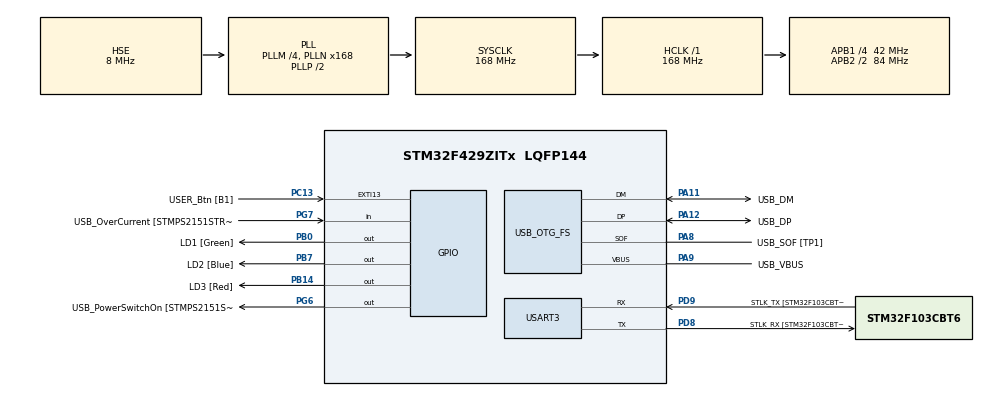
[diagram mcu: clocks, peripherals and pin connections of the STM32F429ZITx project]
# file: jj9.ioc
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Mcu.Family=STM32F4
Mcu.Name=STM32F429ZITx
Mcu.Package=LQFP144
NVIC.OTG_FS_IRQn=true\:0\:0\:false\:false\:true\:false\:true\:true
NVIC.PriorityGroup=NVIC_PRIORITYGROUP_4
PA1.GPIO_Label=RMII_REF_CLK [LAN8742A-CZ-TR_REFCLK0]
PA1.Signal=ETH_REF_CLK
PA10.GPIO_Label=USB_ID
PA10.Signal=USB_OTG_FS_ID
PA11.GPIO_Label=USB_DM
PA11.Mode=Device_Only
PA11.Signal=USB_OTG_FS_DM
PA12.GPIO_Label=USB_DP
PA12.Mode=Device_Only
PA12.Signal=USB_OTG_FS_DP
PA13.GPIO_Label=TMS
PA13.Mode=Serial_Wire
PA13.Signal=SYS_JTMS-SWDIO
PA14.GPIO_Label=TCK
PA14.Mode=Serial_Wire
PA14.Signal=SYS_JTCK-SWCLK
PA2.GPIO_Label=RMII_MDIO [LAN8742A-CZ-TR_MDIO]
PA2.Signal=ETH_MDIO
PA7.GPIO_Label=RMII_CRS_DV [LAN8742A-CZ-TR_CRS_DV]
PA7.Signal=ETH_CRS_DV
PA8.GPIO_Label=USB_SOF [TP1]
PA8.Mode=Activate_SOF_FS
PA8.Signal=USB_OTG_FS_SOF
PA9.GPIO_Label=USB_VBUS
PA9.Mode=Activate_VBUS
PA9.Signal=USB_OTG_FS_VBUS
PB0.GPIO_Label=LD1 [Green]
PB0.Signal=GPIO_Output
PB13.GPIO_Label=RMII_TXD1 [LAN8742A-CZ-TR_TXD1]
PB13.Signal=ETH_TXD1
PB14.GPIO_Label=LD3 [Red]
PB14.Signal=GPIO_Output
PB7.GPIO_Label=LD2 [Blue]
PB7.Signal=GPIO_Output
PC1.GPIO_Label=RMII_MDC [LAN8742A-CZ-TR_MDC]
PC1.Signal=ETH_MDC
PC13.GPIO_Label=USER_Btn [B1]
PC13.Signal=GPXTI13
PC14/OSC32_IN.Mode=LSE-External-Oscillator
PC14/OSC32_IN.Signal=RCC_OSC32_IN
PC15/OSC32_OUT.Mode=LSE-External-Oscillator
PC15/OSC32_OUT.Signal=RCC_OSC32_OUT
PC4.GPIO_Label=RMII_RXD0 [LAN8742A-CZ-TR_RXD0]
PC4.Signal=ETH_RXD0
PC5.GPIO_Label=RMII_RXD1 [LAN8742A-CZ-TR_RXD1]
PC5.Signal=ETH_RXD1
PD8.GPIO_Label=STLK_RX [STM32F103CBT6_PA3]
PD8.Mode=Asynchronous
PD8.Signal=USART3_TX
PD9.GPIO_Label=STLK_TX [STM32F103CBT6_PA2]
PD9.Mode=Asynchronous
PD9.Signal=USART3_RX
PG11.GPIO_Label=RMII_TX_EN [LAN8742A-CZ-TR_TXEN]
PG11.Signal=ETH_TX_EN
PG13.GPIO_Label=RMII_TXD0 [LAN8742A-CZ-TR_TXD0]
PG13.Signal=ETH_TXD0
PG6.GPIO_Label=USB_PowerSwitchOn [STMPS2151STR_EN]
PG6.Signal=GPIO_Output
PG7.GPIO_Label=USB_OverCurrent [STMPS2151STR_FAULT]
PG7.Signal=GPIO_Input
PH0/OSC_IN.GPIO_Label=MCO [STM32F103CBT6_PA8]
PH0/OSC_IN.Mode=HSE-External-Clock-Source
PH0/OSC_IN.Signal=RCC_OSC_IN
PH1/OSC_OUT.Mode=HSE-External-Clock-Source
PH1/OSC_OUT.Signal=RCC_OSC_OUT
ProjectManager.HeapSize=0x200
ProjectManager.StackSize=0x400
ProjectManager.TargetToolchain=STM32CubeIDE
RCC.48MHZClocksFreq_Value=48000000
RCC.AHBFreq_Value=168000000
RCC.APB1CLKDivider=RCC_HCLK_DIV4
RCC.APB1Freq_Value=42000000
RCC.APB1TimFreq_Value=84000000
RCC.APB2CLKDivider=RCC_HCLK_DIV2
RCC.APB2Freq_Value=84000000
RCC.APB2TimCLKDivider=2
RCC.APB2TimFreq_Value=168000000
RCC.CortexFreq_Value=168000000
RCC.HCLKFreq_Value=168000000
RCC.HSE_VALUE=8000000
RCC.HSI_VALUE=16000000
RCC.PLLM=4
RCC.PLLMUL=RCC_PLL_MUL9
RCC.PLLN=168
RCC.PLLQ=7
RCC.PRESCALERUSB=RCC_USBCLKSOURCE_PLL_DIV1_5
RCC.SYSCLKFreq_VALUE=168000000
RCC.SYSCLKSource=RCC_SYSCLKSOURCE_PLLCLK
RCC.SYSCLKSourceVirtual=RCC_SYSCLKSOURCE_PLLCLK
RCC.USBFreq_Value=48000000
RCC.VCOOutputFreq_Value=336000000
USART3.VirtualMode=VM_ASYNC
USB_DEVICE.CLASS_NAME_FS=HID
USB_DEVICE.VirtualMode-HID_FS=Hid
USB_DEVICE.VirtualModeFS=Hid_FS
USB_OTG_FS.VirtualMode=Device_Only
VP_USB_DEVICE_VS_USB_DEVICE_HID_FS.Mode=HID_FS
board=NUCLEO-F429ZI

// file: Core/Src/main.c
/* USER CODE BEGIN Header */
/**
  ******************************************************************************
  * @file           : main.c
  * @brief          : Main program body
  ******************************************************************************
  * @attention
  *
  * Copyright (c) 2024 STMicroelectronics.
  * All rights reserved.
  *
  * This software is licensed under terms that can be found in the LICENSE file
  * in the root directory of this software component.
  * If no LICENSE file comes with this software, it is provided AS-IS.
  *
  ******************************************************************************
  */
/* USER CODE END Header */
#include "main.h"
#include "usb_device.h"

/* USER CODE BEGIN Includes */
#include "usbd_hid.h"
#include <stdio.h>
#include <math.h>
/* USER CODE END Includes */

UART_HandleTypeDef huart3;

/* USER CODE BEGIN PV */
extern USBD_HandleTypeDef hUsbDeviceFS;

/* USER CODE END PV */

void SystemClock_Config(void);
static void MX_GPIO_Init(void);
static void MX_USART3_UART_Init(void);

/* USER CODE BEGIN 0 */
int __io_putchar(int ch)
{
	ITM_SendChar(ch);
			return 0;
}

static void step(int8_t x, int8_t y, int8_t btn) {
	uint8_t buff[4];
	buff[0] = btn; // press the left button
	buff[1] = (int8_t)(x); // shift X +10
	buff[2] = (int8_t)(y); // shift Y -3
	buff[3] = 0; // no scroll
	USBD_HID_SendReport(&hUsbDeviceFS, buff, sizeof(buff));
	HAL_Delay(USBD_HID_GetPollingInterval(&hUsbDeviceFS));
}

void circ(int8_t r)
{
	int8_t sx = 0;
	int8_t sy = 0;
	for (float phi=0; phi < (2*3.14f); phi=phi+0.1)
	{
		float x=r*cosf(phi);
		float y=r*sinf(phi);

		printf("%.2f, %.2f\n ", x, y);

		int8_t dx = x -sx;
		int8_t dy = y -sy;

		step(dx, dy, 1);

		sx += dx;
		sy += dy;
	}

}
/* USER CODE END 0 */

int main(void)
{

  /* MCU Configuration--------------------------------------------------------*/

  /* Reset of all peripherals, Initializes the Flash interface and the Systick. */
  HAL_Init();

  /* Configure the system clock */
  SystemClock_Config();

  /* Initialize all configured peripherals */
  MX_GPIO_Init();
  MX_USART3_UART_Init();
  MX_USB_DEVICE_Init();

  /* Infinite loop */
  /* USER CODE BEGIN WHILE */
  while (1)
  {
	  if (HAL_GPIO_ReadPin(USER_Btn_GPIO_Port, USER_Btn_Pin)){

	  circ(80);

	  		step(0, 0, 0);
	  		step(-50, -20, 1);
	  		step(0, 30, 0);

	  		step(-15, -25, 0);
	  		circ(20);

	  		step(0, 0, 0);
	  		step(45, 0, 0);

	  		circ(20);

	  		step(0, 0, 0);

	  		step(-20, 40, 0);

	  		int8_t sx =  75 * cosf(0.785);
	  		int8_t sy = 75 * sinf(0.785);
	  		for (float phi = 0.785; phi < 2; phi = phi + 0.1)
	  		{
	  			uint8_t r = 75;
	  			float x = r * cosf(phi);
	  			float y = r * sinf(phi);

	  			printf("%.2f, %.2f\n", x, y);

	  			int8_t dx = x - sx;
	  			int8_t dy = y - sy;

	  			step(dx, dy, 1);

	  			sx += dx;
	  			sy += dy;
	  			//printf("%.2f\n", phi);
	  		}

	  		step(0, 0, 0);
	  		step(100, 0, 0);

	  		HAL_Delay(1000);

	  	}
  }
    /* USER CODE END WHILE */

  }

void SystemClock_Config(void)
{
  RCC_OscInitTypeDef RCC_OscInitStruct = {0};
  RCC_ClkInitTypeDef RCC_ClkInitStruct = {0};

  /** Configure the main internal regulator output voltage
  */
  __HAL_RCC_PWR_CLK_ENABLE();
  __HAL_PWR_VOLTAGESCALING_CONFIG(PWR_REGULATOR_VOLTAGE_SCALE1);

  /** Initializes the RCC Oscillators according to the specified parameters
  * in the RCC_OscInitTypeDef structure.
  */
  RCC_OscInitStruct.OscillatorType = RCC_OSCILLATORTYPE_HSE;
  RCC_OscInitStruct.HSEState = RCC_HSE_BYPASS;
  RCC_OscInitStruct.PLL.PLLState = RCC_PLL_ON;
  RCC_OscInitStruct.PLL.PLLSource = RCC_PLLSOURCE_HSE;
  RCC_OscInitStruct.PLL.PLLM = 4;
  RCC_OscInitStruct.PLL.PLLN = 168;
  RCC_OscInitStruct.PLL.PLLP = RCC_PLLP_DIV2;
  RCC_OscInitStruct.PLL.PLLQ = 7;
  if (HAL_RCC_OscConfig(&RCC_OscInitStruct) != HAL_OK)
  {
    Error_Handler();
  }

  /** Initializes the CPU, AHB and APB buses clocks
  */
  RCC_ClkInitStruct.ClockType = RCC_CLOCKTYPE_HCLK|RCC_CLOCKTYPE_SYSCLK
                              |RCC_CLOCKTYPE_PCLK1|RCC_CLOCKTYPE_PCLK2;
  RCC_ClkInitStruct.SYSCLKSource = RCC_SYSCLKSOURCE_PLLCLK;
  RCC_ClkInitStruct.AHBCLKDivider = RCC_SYSCLK_DIV1;
  RCC_ClkInitStruct.APB1CLKDivider = RCC_HCLK_DIV4;
  RCC_ClkInitStruct.APB2CLKDivider = RCC_HCLK_DIV2;

  if (HAL_RCC_ClockConfig(&RCC_ClkInitStruct, FLASH_LATENCY_5) != HAL_OK)
  {
    Error_Handler();
  }
}

static void MX_USART3_UART_Init(void)
{

  huart3.Instance = USART3;
  huart3.Init.BaudRate = 115200;
  huart3.Init.WordLength = UART_WORDLENGTH_8B;
  huart3.Init.StopBits = UART_STOPBITS_1;
  huart3.Init.Parity = UART_PARITY_NONE;
  huart3.Init.Mode = UART_MODE_TX_RX;
  huart3.Init.HwFlowCtl = UART_HWCONTROL_NONE;
  huart3.Init.OverSampling = UART_OVERSAMPLING_16;
  if (HAL_UART_Init(&huart3) != HAL_OK)
  {
    Error_Handler();
  }

}

static void MX_GPIO_Init(void)
{
  GPIO_InitTypeDef GPIO_InitStruct = {0};

  /* GPIO Ports Clock Enable */
  __HAL_RCC_GPIOC_CLK_ENABLE();
  __HAL_RCC_GPIOH_CLK_ENABLE();
  __HAL_RCC_GPIOA_CLK_ENABLE();
  __HAL_RCC_GPIOB_CLK_ENABLE();
  __HAL_RCC_GPIOD_CLK_ENABLE();
  __HAL_RCC_GPIOG_CLK_ENABLE();

  /*Configure GPIO pin Output Level */
  HAL_GPIO_WritePin(GPIOB, LD1_Pin|LD3_Pin|LD2_Pin, GPIO_PIN_RESET);

  /*Configure GPIO pin Output Level */
  HAL_GPIO_WritePin(USB_PowerSwitchOn_GPIO_Port, USB_PowerSwitchOn_Pin, GPIO_PIN_RESET);

  /*Configure GPIO pin : USER_Btn_Pin */
  GPIO_InitStruct.Pin = USER_Btn_Pin;
  GPIO_InitStruct.Mode = GPIO_MODE_IT_RISING;
  GPIO_InitStruct.Pull = GPIO_NOPULL;
  HAL_GPIO_Init(USER_Btn_GPIO_Port, &GPIO_InitStruct);

  /*Configure GPIO pins : RMII_MDC_Pin RMII_RXD0_Pin RMII_RXD1_Pin */
  GPIO_InitStruct.Pin = RMII_MDC_Pin|RMII_RXD0_Pin|RMII_RXD1_Pin;
  GPIO_InitStruct.Mode = GPIO_MODE_AF_PP;
  GPIO_InitStruct.Pull = GPIO_NOPULL;
  GPIO_InitStruct.Speed = GPIO_SPEED_FREQ_VERY_HIGH;
  GPIO_InitStruct.Alternate = GPIO_AF11_ETH;
  HAL_GPIO_Init(GPIOC, &GPIO_InitStruct);

  /*Configure GPIO pins : RMII_REF_CLK_Pin RMII_MDIO_Pin RMII_CRS_DV_Pin */
  GPIO_InitStruct.Pin = RMII_REF_CLK_Pin|RMII_MDIO_Pin|RMII_CRS_DV_Pin;
  GPIO_InitStruct.Mode = GPIO_MODE_AF_PP;
  GPIO_InitStruct.Pull = GPIO_NOPULL;
  GPIO_InitStruct.Speed = GPIO_SPEED_FREQ_VERY_HIGH;
  GPIO_InitStruct.Alternate = GPIO_AF11_ETH;
  HAL_GPIO_Init(GPIOA, &GPIO_InitStruct);

  /*Configure GPIO pins : LD1_Pin LD3_Pin LD2_Pin */
  GPIO_InitStruct.Pin = LD1_Pin|LD3_Pin|LD2_Pin;
  GPIO_InitStruct.Mode = GPIO_MODE_OUTPUT_PP;
  GPIO_InitStruct.Pull = GPIO_NOPULL;
  GPIO_InitStruct.Speed = GPIO_SPEED_FREQ_LOW;
  HAL_GPIO_Init(GPIOB, &GPIO_InitStruct);

  /*Configure GPIO pin : RMII_TXD1_Pin */
  GPIO_InitStruct.Pin = RMII_TXD1_Pin;
  GPIO_InitStruct.Mode = GPIO_MODE_AF_PP;
  GPIO_InitStruct.Pull = GPIO_NOPULL;
  GPIO_InitStruct.Speed = GPIO_SPEED_FREQ_VERY_HIGH;
  GPIO_InitStruct.Alternate = GPIO_AF11_ETH;
  HAL_GPIO_Init(RMII_TXD1_GPIO_Port, &GPIO_InitStruct);

  /*Configure GPIO pin : USB_PowerSwitchOn_Pin */
  GPIO_InitStruct.Pin = USB_PowerSwitchOn_Pin;
  GPIO_InitStruct.Mode = GPIO_MODE_OUTPUT_PP;
  GPIO_InitStruct.Pull = GPIO_NOPULL;
  GPIO_InitStruct.Speed = GPIO_SPEED_FREQ_LOW;
  HAL_GPIO_Init(USB_PowerSwitchOn_GPIO_Port, &GPIO_InitStruct);

  /*Configure GPIO pin : USB_OverCurrent_Pin */
  GPIO_InitStruct.Pin = USB_OverCurrent_Pin;
  GPIO_InitStruct.Mode = GPIO_MODE_INPUT;
  GPIO_InitStruct.Pull = GPIO_NOPULL;
  HAL_GPIO_Init(USB_OverCurrent_GPIO_Port, &GPIO_InitStruct);

  /*Configure GPIO pins : RMII_TX_EN_Pin RMII_TXD0_Pin */
  GPIO_InitStruct.Pin = RMII_TX_EN_Pin|RMII_TXD0_Pin;
  GPIO_InitStruct.Mode = GPIO_MODE_AF_PP;
  GPIO_InitStruct.Pull = GPIO_NOPULL;
  GPIO_InitStruct.Speed = GPIO_SPEED_FREQ_VERY_HIGH;
  GPIO_InitStruct.Alternate = GPIO_AF11_ETH;
  HAL_GPIO_Init(GPIOG, &GPIO_InitStruct);

}

void Error_Handler(void)
{
  __disable_irq();
  while (1)
  {
  }
}
